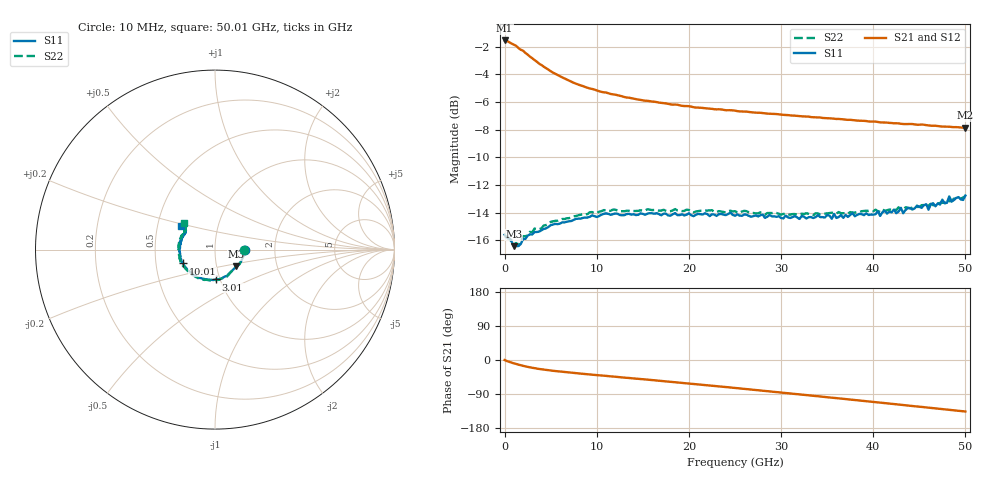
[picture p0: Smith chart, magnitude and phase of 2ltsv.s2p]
# HZ S DB R 50
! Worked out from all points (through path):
!   201 points, 10 MHz to 50.01 GHz, reference 50 ohm
!   highest |S21| = -1.55 dB at 10 MHz (marker M1); lowest = -7.9 dB at 50.01 GHz (marker M2)
!   group delay of S21, straight-line fit = 6.78 ps
!   lowest |S11| = -16.4 dB at 1.01 GHz (marker M3), VSWR 1.36, Z = 62.2 - j11.8 ohm
!   |S11| at or under -10 dB: start of sweep to end of sweep
!   |S22| runs from -16.3 to -12.8 dB; largest |S21 - S12| = 0.0098
!   S11 on the Smith chart (normalised r, x): 10 MHz: 1.40, -0.00; 3.01 GHz: 0.96, -0.33; 10.01 GHz: 0.69, -0.11; 50.01 GHz: 0.66, +0.19
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1e7  -15.60 -0.6  -1.55 0.0  -1.55 0.0  -15.71 -0.4
1.01e9  -16.43 -38.0  -1.85 -8.8  -1.84 -8.9  -16.33 -38.0
1.51e9  -16.42 -51.6  -2.09 -12.3  -2.08 -12.4  -16.34 -52.2
2.01e9  -15.90 -65.2  -2.28 -15.4  -2.27 -15.6  -15.70 -65.7
3.01e9  -15.58 -88.2  -2.83 -20.5  -2.83 -20.7  -15.42 -88.8
5.51e9  -14.82 -124.7  -3.96 -29.1  -3.95 -29.4  -14.60 -125.3
8.51e9  -14.38 -147.9  -4.85 -36.5  -4.84 -36.8  -14.12 -149.1
1.001e10  -14.31 -156.3  -5.16 -39.9  -5.16 -40.2  -14.03 -156.9
1.676e10  -14.11 177.7  -6.04 -54.8  -6.04 -55.3  -13.86 177.4
2.501e10  -14.23 161.2  -6.62 -73.9  -6.62 -74.6  -13.90 158.7
3.351e10  -14.39 150.6  -7.10 -94.4  -7.09 -95.4  -14.18 149.1
4.176e10  -13.93 146.4  -7.51 -115.0  -7.50 -116.2  -13.78 143.8
4.251e10  -14.05 145.1  -7.54 -116.8  -7.54 -118.0  -13.81 144.0
4.301e10  -13.65 145.1  -7.57 -118.2  -7.56 -119.4  -13.75 142.4
4.326e10  -14.05 144.9  -7.59 -118.8  -7.58 -120.0  -13.81 143.5
4.576e10  -13.39 144.0  -7.67 -125.3  -7.68 -126.5  -13.59 141.6
4.601e10  -13.79 144.8  -7.69 -125.8  -7.70 -127.0  -13.48 142.5
4.751e10  -13.06 144.4  -7.78 -129.5  -7.77 -130.9  -13.29 140.7
4.801e10  -13.29 146.0  -7.78 -130.8  -7.78 -132.1  -13.09 140.9
4.826e10  -12.83 144.1  -7.79 -131.5  -7.79 -132.7  -13.18 139.9
4.851e10  -13.20 143.1  -7.81 -132.1  -7.81 -133.4  -13.17 141.2
5.001e10  -12.77 144.8  -7.87 -135.9  -7.88 -137.3  -12.80 139.7
